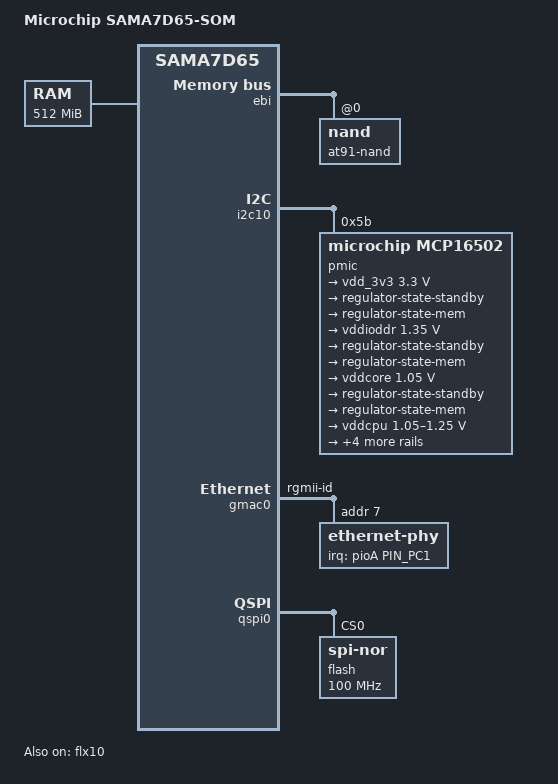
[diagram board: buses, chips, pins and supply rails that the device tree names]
// SPDX-License-Identifier: (GPL-2.0+ OR MIT)
/*
 * sama7d65_som.dtsi - Device Tree file for Microchip SAMA7D65 SOM
 *
 * Copyright (C) 2026 Microchip Technology Inc. and its subsidiaries
 *
 * Author: Varshini Rajendran <varshini.rajendran@microchip.com>
 */
/dts-v1/;
#include "sama7d65-pinfunc.h"
#include "sama7d65.dtsi"
#include <dt-bindings/mfd/atmel-flexcom.h>
#include <dt-bindings/input/input.h>
#include <dt-bindings/pinctrl/at91.h>

/ {
	model = "Microchip SAMA7D65-SOM";
	compatible = "microchip,sama7d65", "microchip,sama7";

	clocks {
		slow_xtal {
			clock-frequency = <32768>;
		};

		main_xtal {
			clock-frequency = <24000000>;
		};
	};

	memory@60000000 {
		device_type = "memory";
		reg = <0x60000000 0x20000000>;
	};
};

&ebi {
	pinctrl-names = "default";
	pinctrl-0 = <&pinctrl_nand_default>;
	status = "okay";

	nand_controller: nand-controller {
		status = "okay";

		nand@0 {
			reg = <0x0 0x0 0x1000000>;
			atmel,rb = <0>;
			nand-bus-width = <8>;
			nand-ecc-mode = "hw";
			nand-ecc-strength = <8>;
			nand-ecc-step-size = <512>;
			nand-on-flash-bbt;
			label = "at91-nand";
		};
	};
};

&flx10 {
	atmel,flexcom-mode = <ATMEL_FLEXCOM_MODE_TWI>;
	status = "okay";
};

&i2c10 {
	pinctrl-names = "default";
	pinctrl-0 = <&pinctrl_i2c10_default>;
	i2c-analog-filter;
	i2c-digital-filter;
	i2c-digital-filter-width-ns = <35>;
	status = "okay";

	pmic@5b {
		compatible = "microchip,mcp16502";
		reg = <0x5b>;

		regulators {
			vdd_3v3: VDD_IO {
				regulator-name = "VDD_IO";
				regulator-min-microvolt = <3300000>;
				regulator-max-microvolt = <3300000>;
				regulator-initial-mode = <2>;
				regulator-allowed-modes = <2>, <4>;
				regulator-always-on;

				regulator-state-standby {
					regulator-on-in-suspend;
					regulator-suspend-microvolt = <3300000>;
					regulator-mode = <4>;
				};

				regulator-state-mem {
					regulator-off-in-suspend;
					regulator-mode = <4>;
				};
			};

			vddioddr: VDD_DDR {
				regulator-name = "VDD_DDR";
				regulator-min-microvolt = <1350000>;
				regulator-max-microvolt = <1350000>;
				regulator-initial-mode = <2>;
				regulator-allowed-modes = <2>, <4>;
				regulator-always-on;

				regulator-state-standby {
					regulator-on-in-suspend;
					regulator-suspend-microvolt = <1350000>;
					regulator-mode = <4>;
				};

				regulator-state-mem {
					regulator-on-in-suspend;
					regulator-suspend-microvolt = <1350000>;
					regulator-mode = <4>;
				};
			};

			vddcore: VDD_CORE {
				regulator-name = "VDD_CORE";
				regulator-min-microvolt = <1050000>;
				regulator-max-microvolt = <1050000>;
				regulator-initial-mode = <2>;
				regulator-allowed-modes = <2>, <4>;
				regulator-always-on;

				regulator-state-standby {
					regulator-on-in-suspend;
					regulator-suspend-voltage = <1050000>;
					regulator-mode = <4>;
				};

				regulator-state-mem {
					regulator-off-in-suspend;
					regulator-mode = <4>;
				};
			};

			vddcpu: VDD_OTHER {
				regulator-name = "VDD_OTHER";
				regulator-min-microvolt = <1050000>;
				regulator-max-microvolt = <1250000>;
				regulator-initial-mode = <2>;
				regulator-allowed-modes = <2>, <4>;
				regulator-ramp-delay = <3125>;
				regulator-always-on;

				regulator-state-standby {
					regulator-on-in-suspend;
					regulator-suspend-voltage = <1050000>;
					regulator-mode = <4>;
				};

				regulator-state-mem {
					regulator-off-in-suspend;
					regulator-mode = <4>;
				};
			};

			vldo1: LDO1 {
				regulator-name = "LDO1";
				regulator-min-microvolt = <1800000>;
				regulator-max-microvolt = <1800000>;
				regulator-always-on;

				regulator-state-standby {
					regulator-suspend-voltage = <1800000>;
					regulator-on-in-suspend;
				};

				regulator-state-mem {
					regulator-off-in-suspend;
				};
			};

			vldo2: LDO2 {
				regulator-name = "LDO2";
				regulator-min-microvolt = <1200000>;
				regulator-max-microvolt = <3700000>;

				regulator-state-standby {
					regulator-suspend-voltage = <1800000>;
					regulator-on-in-suspend;
				};

				regulator-state-mem {
					regulator-off-in-suspend;
				};
			};
		};
	};
};

&gmac0 {
	#address-cells = <1>;
	#size-cells = <0>;
	pinctrl-names = "default";
	pinctrl-0 = <&pinctrl_gmac0_default
		     &pinctrl_gmac0_mdio_default
		     &pinctrl_gmac0_txck_default
		     &pinctrl_gmac0_phy_irq>;
	phy-mode = "rgmii-id";
	status = "okay";

	ethernet-phy@7 {
		reg = <0x7>;
		interrupt-parent = <&pioA>;
		interrupts = <PIN_PC1 IRQ_TYPE_LEVEL_LOW>;
		status = "okay";
	};
};

&pioA {
	pinctrl_gmac0_default: gmac0-default {
		pinmux = <PIN_PA26__G0_TX0>,
			 <PIN_PA27__G0_TX1>,
			 <PIN_PB4__G0_TX2>,
			 <PIN_PB5__G0_TX3>,
			 <PIN_PA29__G0_RX0>,
			 <PIN_PA30__G0_RX1>,
			 <PIN_PB2__G0_RX2>,
			 <PIN_PB6__G0_RX3>,
			 <PIN_PA25__G0_TXCTL>,
			 <PIN_PB3__G0_RXCK>,
			 <PIN_PA28__G0_RXCTL>;
		slew-rate = <0>;
		bias-disable;
	};

	pinctrl_gmac0_mdio_default: gmac0-mdio-default {
		pinmux = <PIN_PA31__G0_MDC>,
			 <PIN_PB0__G0_MDIO>;
		bias-disable;
	};

	pinctrl_gmac0_phy_irq: gmac0-phy-irq {
		pinmux = <PIN_PC1__GPIO>;
		bias-disable;
	};

	pinctrl_gmac0_txck_default: gmac0-txck-default {
		pinmux = <PIN_PB1__G0_REFCK>;
		slew-rate = <0>;
		bias-pull-up;
	};

	pinctrl_i2c10_default: i2c10-default {
		pinmux = <PIN_PB19__FLEXCOM10_IO1>,
			 <PIN_PB20__FLEXCOM10_IO0>;
		bias-disable;
	};

	pinctrl_nand_default: nand-default {
		pinmux = <PIN_PA0__NWER0>,
			 <PIN_PA1__A21>,
			 <PIN_PA2__A22>,
			 <PIN_PA3__D0>,
			 <PIN_PA4__D1>,
			 <PIN_PA5__D4>,
			 <PIN_PA6__D5>,
			 <PIN_PA7__D6>,
			 <PIN_PA8__D7>,
			 <PIN_PA9__D2>,
			 <PIN_PA10__D3>,
			 <PIN_PA11__NANDRDY>,
			 <PIN_PA12__NRD>,
			 <PIN_PA13__NCS0>;
		slew-rate = <0>;
		bias-disable;
	};

	pinctrl_qspi0_default: qspi0-default {
		pinmux = <PIN_PB8__QSPI0_IO3>,
			 <PIN_PB9__QSPI0_IO2>,
			 <PIN_PB10__QSPI0_IO1>,
			 <PIN_PB11__QSPI0_IO0>,
			 <PIN_PB12__QSPI0_CS>,
			 <PIN_PB13__QSPI0_SCK>;
		bias-disable;
		atmel,drive-strength = <ATMEL_PIO_DRVSTR_2>;
		slew-rate = <0>;
	};
};

&qspi0 {
	pinctrl-names = "default";
	pinctrl-0 = <&pinctrl_qspi0_default>;
	status = "okay";

	flash@0 {
		compatible = "jedec,spi-nor";
		reg = <0x0>;
		spi-max-frequency = <100000000>;
		spi-tx-bus-width = <4>;
		spi-rx-bus-width = <4>;
		m25p,fast-read;
	};
};
